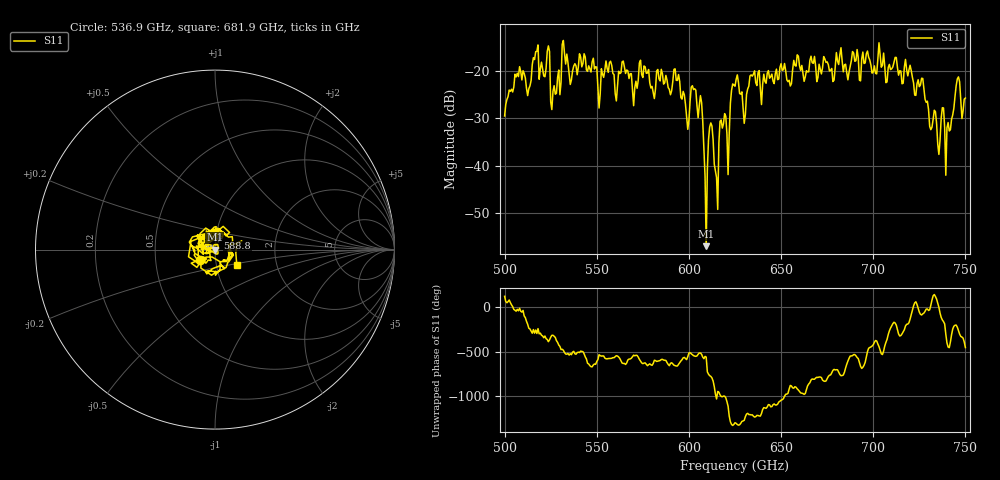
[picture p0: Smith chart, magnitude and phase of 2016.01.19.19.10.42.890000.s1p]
!Created with skrf (http://scikit-rf.org).
# GHz S RI R 50.0
!freq ReS11 ImS11
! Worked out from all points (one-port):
!   401 points, 500 GHz to 750 GHz, reference 50 ohm
!   lowest |S11| = -57.0 dB at 609.4 GHz (marker M1), VSWR 1.00, Z = 49.9 + j0.0511 ohm
!   |S11| at or under -10 dB: start of sweep to end of sweep
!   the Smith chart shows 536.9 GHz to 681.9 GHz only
!   S11 on the Smith chart (normalised r, x): 536.9 GHz: 0.84, -0.10; 588.8 GHz: 1.02, +0.13; 681.9 GHz: 1.25, -0.22
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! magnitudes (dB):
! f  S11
! 500 GHz  -29.5
! 516.9 GHz  -15.9
! 523.1 GHz  -15.9
! 526.2 GHz  -24.3
! 531.2 GHz  -14.3
! 536.9 GHz  -19.9
! 562.5 GHz  -20.5
! 588.8 GHz  -23.5
! 593.8 GHz  -22.0
! 598.8 GHz  -29.6
! 602.5 GHz  -23.9
! 606.2 GHz  -25.2
! 609.4 GHz  -57.0
! 611.9 GHz  -31.0
! 615 GHz  -42.5
! 618.1 GHz  -32.1
! 621.2 GHz  -41.9
! 625 GHz  -23.2
! 630 GHz  -31.1
! 634.4 GHz  -21.1
! 656.2 GHz  -19.8
! 681.9 GHz  -16.5
! 687.5 GHz  -19.0
! 718.8 GHz  -21.0
! 735.6 GHz  -37.6
! 740.6 GHz  -30.9
! 745.6 GHz  -21.6
! 750 GHz  -25.7
